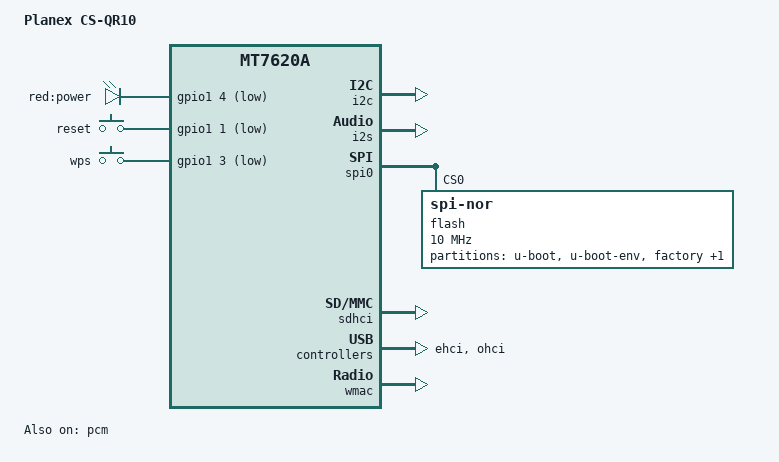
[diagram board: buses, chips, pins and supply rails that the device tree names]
#include "mt7620a.dtsi"

#include <dt-bindings/gpio/gpio.h>
#include <dt-bindings/input/input.h>

/ {
	compatible = "planex,cs-qr10", "ralink,mt7620a-soc";
	model = "Planex CS-QR10";

	aliases {
		led-boot = &led_power;
		led-failsafe = &led_power;
		led-running = &led_power;
		led-upgrade = &led_power;
	};

	leds {
		compatible = "gpio-leds";

		led_power: power {
			label = "red:power";
			gpios = <&gpio1 4 GPIO_ACTIVE_LOW>;
		};
	};

	keys {
		compatible = "gpio-keys";

		s1 {
			label = "reset";
			gpios = <&gpio1 1 GPIO_ACTIVE_LOW>;
			linux,code = <KEY_RESTART>;
		};

		s2 {
			label = "wps";
			gpios = <&gpio1 3 GPIO_ACTIVE_LOW>;
			linux,code = <KEY_WPS_BUTTON>;
		};
	};
};

&gpio1 {
	status = "okay";
};

&i2c {
	status = "okay";
};

&i2s {
	status = "okay";
	pinctrl-names = "default";
	pinctrl-0 = <&pcm_i2s_pins>;
};

&spi0 {
	status = "okay";

	flash@0 {
		compatible = "jedec,spi-nor";
		reg = <0>;
		spi-max-frequency = <10000000>;

		partitions {
			compatible = "fixed-partitions";
			#address-cells = <1>;
			#size-cells = <1>;

			partition@0 {
				label = "u-boot";
				reg = <0x0 0x30000>;
				read-only;
			};

			partition@30000 {
				label = "u-boot-env";
				reg = <0x30000 0x10000>;
				read-only;
			};

			factory: partition@40000 {
				label = "factory";
				reg = <0x40000 0x10000>;
				read-only;
			};

			partition@50000 {
				compatible = "denx,uimage";
				label = "firmware";
				reg = <0x50000 0x7b0000>;
			};
		};
	};
};

&pcm {
	status = "okay";
};

&gdma {
	status = "okay";
};

&state_default {
	gpio {
		groups = "spi refclk", "rgmii1";
		function = "gpio";
	};
	wdt {
		groups = "wdt";
		function = "wdt refclk";
	};
};

&ethernet {
	pinctrl-names = "default";
	pinctrl-0 = <&ephy_pins>;

	nvmem-cells = <&macaddr_factory_4>;
	nvmem-cell-names = "mac-address";

	mediatek,portmap = "llllw";
};

&sdhci {
	status = "okay";
};

&ehci {
	status = "okay";
};

&ohci {
	status = "okay";
};

&wmac {
	ralink,mtd-eeprom = <&factory 0x0>;
};

&factory {
	compatible = "nvmem-cells";
	#address-cells = <1>;
	#size-cells = <1>;

	macaddr_factory_4: macaddr@4 {
		reg = <0x4 0x6>;
	};
};
